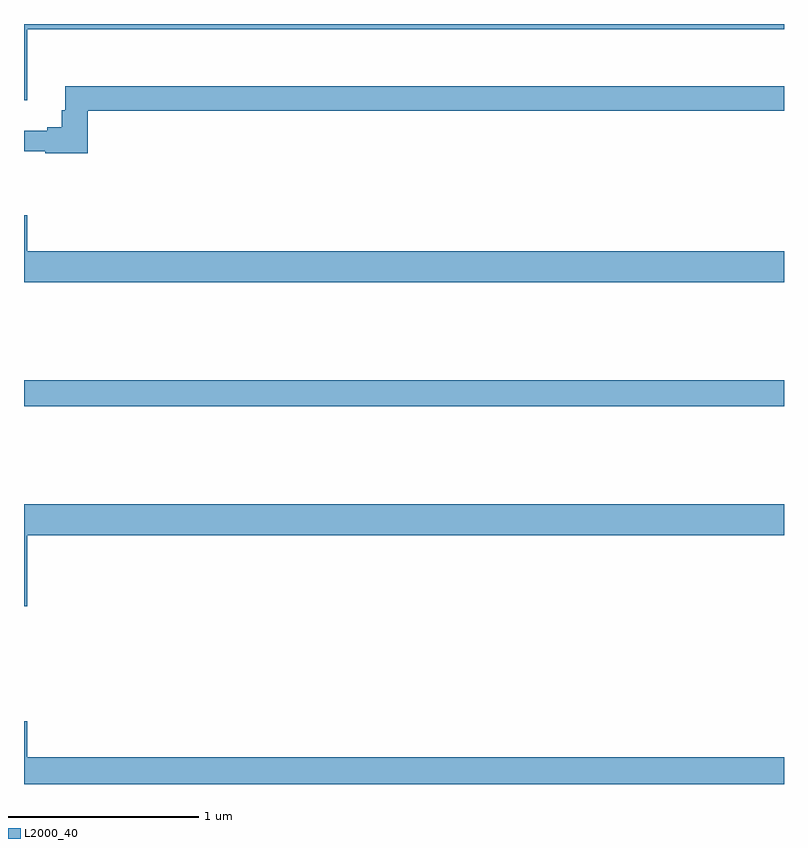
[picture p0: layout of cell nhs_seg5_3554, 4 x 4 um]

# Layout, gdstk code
import gdstk
lib = gdstk.Library(unit=1e-6, precision=1e-09)
def R(c, l, rs):  # rectangles x0, y0, x1, y1
    for r in rs: c.add(gdstk.rectangle(r[:2], r[2:], *l))
def P(c, l, *ps):  # polygons
    for p in ps: c.add(gdstk.Polygon(p, *l))
L2000_40 = (2000, 40)

nhs_seg5_3554 = lib.new_cell('nhs_seg5_3554')
R(nhs_seg5_3554, L2000_40, [(321,842.788,325,842.924)])
P(nhs_seg5_3554, L2000_40, [(321.016,844.772),(325,844.772),(325,844.799),(321,844.799),(321,844.398),(321.016,844.398)],
  [(321.335,844.342),(325,844.342),(325,844.471),(321.218,844.471),(321.218,844.344),(321.199,844.344),(321.199,844.256),(321.122,844.256),(321.122,844.237),(321,844.237),(321,844.128),(321.112,844.128),(321.112,844.12),(321.335,844.12)],
  [(325,843.604),(321.016,843.604),(321.016,843.793),(321,843.793),(321,843.44),(325,843.44)],
  [(321.016,842.108),(325,842.108),(325,842.272),(321,842.272),(321,841.734),(321.016,841.734)],
  [(325,840.94),(321.016,840.94),(321.016,841.129),(321,841.129),(321,840.799),(325,840.799)])

lib.write_gds('nhs_seg5_3554.gds')
